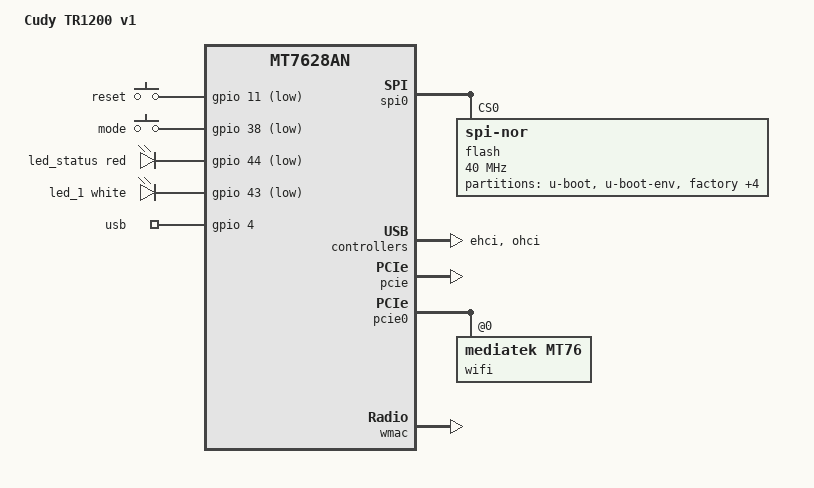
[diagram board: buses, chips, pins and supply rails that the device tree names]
// SPDX-License-Identifier: GPL-2.0-or-later OR MIT

#include "mt7628an.dtsi"

#include <dt-bindings/gpio/gpio.h>
#include <dt-bindings/input/input.h>
#include <dt-bindings/leds/common.h>

/ {
	compatible = "cudy,tr1200-v1", "mediatek,mt7628an-soc";
	model = "Cudy TR1200 v1";

	aliases {
		led-boot = &led_status;
		led-running = &led_status;
		led-failsafe = &led_status;
		led-upgrade = &led_status;
		label-mac-device = &ethernet;
	};

	chosen {
		bootargs = "console=ttyS0,115200";
	};

	gpio-keys {
		compatible = "gpio-keys";

		reset {
			label = "reset";
			linux,code = <KEY_RESTART>;
			gpios = <&gpio 11 GPIO_ACTIVE_LOW>;
		};

		mode {
			label = "mode";
			linux,input-type = <EV_SW>;
			linux,code = <BTN_0>;
			gpios = <&gpio 38 GPIO_ACTIVE_LOW>;
			debounce-interval = <60>;
		};
	};

	leds {
		compatible = "gpio-leds";

		led_status: led_0 {
			function = LED_FUNCTION_POWER;
			color = <LED_COLOR_ID_RED>;
			gpios = <&gpio 44 GPIO_ACTIVE_LOW>;
		};

		led_1 {
			function = LED_FUNCTION_STATUS;
			color = <LED_COLOR_ID_WHITE>;
			gpios = <&gpio 43 GPIO_ACTIVE_LOW>;
		};
	};

	gpio_export {
		compatible = "gpio-export";

		usb {
			gpio-export,name = "usb";
			gpio-export,output = <1>;
			gpios = <&gpio 4 GPIO_ACTIVE_HIGH>;
		};
	};
};

&spi0 {
	status = "okay";

	flash@0 {
		compatible = "jedec,spi-nor";
		reg = <0>;
		spi-max-frequency = <40000000>;

		partitions {
			compatible = "fixed-partitions";
			#address-cells = <1>;
			#size-cells = <1>;

			partition@0 {
				label = "u-boot";
				reg = <0x0 0x30000>;
				read-only;
			};

			partition@30000 {
				label = "u-boot-env";
				reg = <0x30000 0x10000>;
				read-only;
			};

			partition@40000 {
				label = "factory";
				reg = <0x40000 0x10000>;
				read-only;

				nvmem-layout {
					compatible = "fixed-layout";
					#address-cells = <1>;
					#size-cells = <1>;

					eeprom_factory_0: eeprom@0 {
						reg = <0x0 0x400>;
					};

					eeprom_factory_8000: eeprom@8000 {
						reg = <0x8000 0x4da8>;
					};
				};
			};

			partition@50000 {
				compatible = "denx,uimage";
				label = "firmware";
				reg = <0x50000 0xf80000>;
			};

			partition@fd0000 {
				label = "debug";
				reg = <0xfd0000 0x10000>;
				read-only;
			};

			partition@fe0000 {
				label = "backup";
				reg = <0xfe000 0x10000>;
				read-only;
			};

			partition@ff0000 {
				label = "bdinfo";
				reg = <0xff0000 0x10000>;
				read-only;

				nvmem-layout {
					compatible = "fixed-layout";
					#address-cells = <1>;
					#size-cells = <1>;

					macaddr_bdinfo_de00: macaddr@de00 {
						compatible = "mac-base";
						reg = <0xde00 0x6>;
						#nvmem-cell-cells = <1>;
					};
				};
			};
		};
	};
};

&state_default {
	gpio {
		groups = "i2c", "gpio", "wdt", "p0led_an", "wled_an";
		function = "gpio";
	};
};

&ehci {
	status = "okay";
};

&ohci {
	status = "okay";
};

&pcie {
	status = "okay";
};

&pcie0 {
	wifi@0,0 {
		compatible = "mediatek,mt76";
		reg = <0x0000 0 0 0 0>;
		nvmem-cells = <&eeprom_factory_8000>, <&macaddr_bdinfo_de00 2>;
		nvmem-cell-names = "eeprom", "mac-address";
		ieee80211-freq-limit = <5000000 6000000>;
	};
};

&wmac {
	status = "okay";

	nvmem-cells = <&eeprom_factory_0>, <&macaddr_bdinfo_de00 0>;
	nvmem-cell-names = "eeprom", "mac-address";
};

&ethernet {
	nvmem-cells = <&macaddr_bdinfo_de00 0>;
	nvmem-cell-names = "mac-address";
};

&esw {
	mediatek,portmap = <0x3d>;
	mediatek,portdisable = <0x3c>;
};
